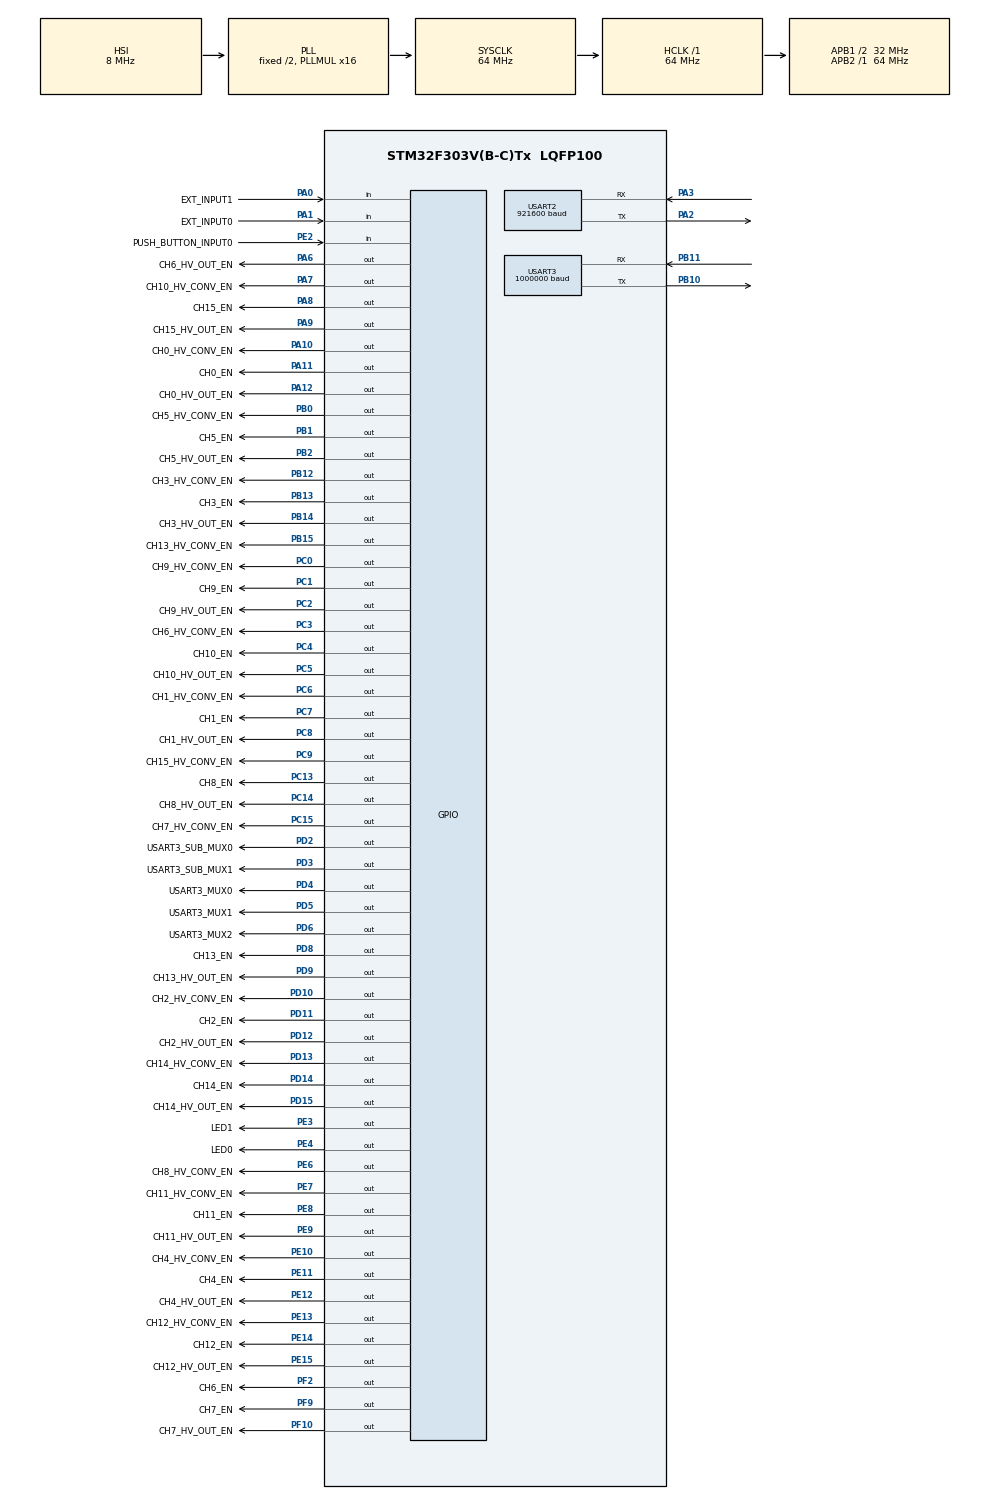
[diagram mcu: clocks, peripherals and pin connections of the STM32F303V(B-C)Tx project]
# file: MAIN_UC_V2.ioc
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Dma.Request0=USART2_RX
Dma.Request1=USART2_TX
Dma.Request2=USART3_RX
Dma.Request3=USART3_TX
Dma.USART2_RX.0.Direction=DMA_PERIPH_TO_MEMORY
Dma.USART2_RX.0.Instance=DMA1_Channel6
Dma.USART2_RX.0.MemDataAlignment=DMA_MDATAALIGN_BYTE
Dma.USART2_RX.0.MemInc=DMA_MINC_ENABLE
Dma.USART2_RX.0.Mode=DMA_CIRCULAR
Dma.USART2_RX.0.PeriphDataAlignment=DMA_PDATAALIGN_BYTE
Dma.USART2_RX.0.PeriphInc=DMA_PINC_DISABLE
Dma.USART2_RX.0.Priority=DMA_PRIORITY_LOW
Dma.USART2_TX.1.Direction=DMA_MEMORY_TO_PERIPH
Dma.USART2_TX.1.Instance=DMA1_Channel7
Dma.USART2_TX.1.MemDataAlignment=DMA_MDATAALIGN_BYTE
Dma.USART2_TX.1.MemInc=DMA_MINC_ENABLE
Dma.USART2_TX.1.Mode=DMA_NORMAL
Dma.USART2_TX.1.PeriphDataAlignment=DMA_PDATAALIGN_BYTE
Dma.USART2_TX.1.PeriphInc=DMA_PINC_DISABLE
Dma.USART2_TX.1.Priority=DMA_PRIORITY_LOW
Dma.USART3_RX.2.Direction=DMA_PERIPH_TO_MEMORY
Dma.USART3_RX.2.Instance=DMA1_Channel3
Dma.USART3_RX.2.MemDataAlignment=DMA_MDATAALIGN_BYTE
Dma.USART3_RX.2.MemInc=DMA_MINC_ENABLE
Dma.USART3_RX.2.Mode=DMA_CIRCULAR
Dma.USART3_RX.2.PeriphDataAlignment=DMA_PDATAALIGN_BYTE
Dma.USART3_RX.2.PeriphInc=DMA_PINC_DISABLE
Dma.USART3_RX.2.Priority=DMA_PRIORITY_LOW
Dma.USART3_TX.3.Direction=DMA_MEMORY_TO_PERIPH
Dma.USART3_TX.3.Instance=DMA1_Channel2
Dma.USART3_TX.3.MemDataAlignment=DMA_MDATAALIGN_BYTE
Dma.USART3_TX.3.MemInc=DMA_MINC_ENABLE
Dma.USART3_TX.3.Mode=DMA_NORMAL
Dma.USART3_TX.3.PeriphDataAlignment=DMA_PDATAALIGN_BYTE
Dma.USART3_TX.3.PeriphInc=DMA_PINC_DISABLE
Dma.USART3_TX.3.Priority=DMA_PRIORITY_LOW
Mcu.Family=STM32F3
Mcu.Name=STM32F303V(B-C)Tx
Mcu.Package=LQFP100
NVIC.DMA1_Channel2_IRQn=true\:0\:0\:false\:false\:true\:true\:true\:true
NVIC.DMA1_Channel3_IRQn=true\:0\:0\:false\:false\:true\:true\:true\:true
NVIC.DMA1_Channel6_IRQn=true\:0\:0\:false\:false\:true\:true\:true\:true
NVIC.DMA1_Channel7_IRQn=true\:0\:0\:false\:false\:true\:true\:true\:true
NVIC.PriorityGroup=NVIC_PRIORITYGROUP_4
NVIC.TIM6_DAC_IRQn=true\:0\:0\:false\:false\:true\:true\:true\:true
NVIC.USART2_IRQn=true\:0\:0\:false\:false\:true\:true\:true\:true
NVIC.USART3_IRQn=true\:0\:0\:false\:false\:true\:true\:true\:true
PA0.GPIO_Label=EXT_INPUT1
PA0.Signal=GPIO_Input
PA1.GPIO_Label=EXT_INPUT0
PA1.Signal=GPIO_Input
PA10.GPIO_Label=CH0_HV_CONV_EN
PA10.GPIO_PuPd=GPIO_PULLDOWN
PA10.Signal=GPIO_Output
PA11.GPIO_Label=CH0_EN
PA11.GPIO_PuPd=GPIO_PULLDOWN
PA11.Signal=GPIO_Output
PA12.GPIO_Label=CH0_HV_OUT_EN
PA12.GPIO_PuPd=GPIO_PULLDOWN
PA12.Signal=GPIO_Output
PA13.Mode=Serial_Wire
PA13.Signal=SYS_JTMS-SWDIO
PA14.Mode=Serial_Wire
PA14.Signal=SYS_JTCK-SWCLK
PA2.Mode=Asynchronous
PA2.Signal=USART2_TX
PA3.Mode=Asynchronous
PA3.Signal=USART2_RX
PA6.GPIO_Label=CH6_HV_OUT_EN
PA6.GPIO_PuPd=GPIO_PULLDOWN
PA6.Signal=GPIO_Output
PA7.GPIO_Label=CH10_HV_CONV_EN
PA7.GPIO_PuPd=GPIO_PULLDOWN
PA7.Signal=GPIO_Output
PA8.GPIO_Label=CH15_EN
PA8.GPIO_PuPd=GPIO_PULLDOWN
PA8.Signal=GPIO_Output
PA9.GPIO_Label=CH15_HV_OUT_EN
PA9.GPIO_PuPd=GPIO_PULLDOWN
PA9.Signal=GPIO_Output
PB0.GPIO_Label=CH5_HV_CONV_EN
PB0.GPIO_PuPd=GPIO_PULLDOWN
PB0.Signal=GPIO_Output
PB1.GPIO_Label=CH5_EN
PB1.GPIO_PuPd=GPIO_PULLDOWN
PB1.Signal=GPIO_Output
PB10.Mode=Asynchronous
PB10.Signal=USART3_TX
PB11.Mode=Asynchronous
PB11.Signal=USART3_RX
PB12.GPIO_Label=CH3_HV_CONV_EN
PB12.GPIO_PuPd=GPIO_PULLDOWN
PB12.Signal=GPIO_Output
PB13.GPIO_Label=CH3_EN
PB13.GPIO_PuPd=GPIO_PULLDOWN
PB13.Signal=GPIO_Output
PB14.GPIO_Label=CH3_HV_OUT_EN
PB14.GPIO_PuPd=GPIO_PULLDOWN
PB14.Signal=GPIO_Output
PB15.GPIO_Label=CH13_HV_CONV_EN
PB15.GPIO_PuPd=GPIO_PULLDOWN
PB15.Signal=GPIO_Output
PB2.GPIO_Label=CH5_HV_OUT_EN
PB2.GPIO_PuPd=GPIO_PULLDOWN
PB2.Signal=GPIO_Output
PC0.GPIO_Label=CH9_HV_CONV_EN
PC0.GPIO_PuPd=GPIO_PULLDOWN
PC0.Signal=GPIO_Output
PC1.GPIO_Label=CH9_EN
PC1.GPIO_PuPd=GPIO_PULLDOWN
PC1.Signal=GPIO_Output
PC13.GPIO_Label=CH8_EN
PC13.GPIO_PuPd=GPIO_PULLDOWN
PC13.Signal=GPIO_Output
PC14-OSC32_IN.GPIO_Label=CH8_HV_OUT_EN
PC14-OSC32_IN.GPIO_PuPd=GPIO_PULLDOWN
PC14-OSC32_IN.Signal=GPIO_Output
PC15-OSC32_OUT.GPIO_Label=CH7_HV_CONV_EN
PC15-OSC32_OUT.GPIO_PuPd=GPIO_PULLDOWN
PC15-OSC32_OUT.Signal=GPIO_Output
PC2.GPIO_Label=CH9_HV_OUT_EN
PC2.GPIO_PuPd=GPIO_PULLDOWN
PC2.Signal=GPIO_Output
PC3.GPIO_Label=CH6_HV_CONV_EN
PC3.GPIO_PuPd=GPIO_PULLDOWN
PC3.Signal=GPIO_Output
PC4.GPIO_Label=CH10_EN
PC4.GPIO_PuPd=GPIO_PULLDOWN
PC4.Signal=GPIO_Output
PC5.GPIO_Label=CH10_HV_OUT_EN
PC5.GPIO_PuPd=GPIO_PULLDOWN
PC5.Signal=GPIO_Output
PC6.GPIO_Label=CH1_HV_CONV_EN
PC6.GPIO_PuPd=GPIO_PULLDOWN
PC6.Signal=GPIO_Output
PC7.GPIO_Label=CH1_EN
PC7.GPIO_PuPd=GPIO_PULLDOWN
PC7.Signal=GPIO_Output
PC8.GPIO_Label=CH1_HV_OUT_EN
PC8.GPIO_PuPd=GPIO_PULLDOWN
PC8.Signal=GPIO_Output
PC9.GPIO_Label=CH15_HV_CONV_EN
PC9.GPIO_PuPd=GPIO_PULLDOWN
PC9.Signal=GPIO_Output
PD10.GPIO_Label=CH2_HV_CONV_EN
PD10.GPIO_PuPd=GPIO_PULLDOWN
PD10.Signal=GPIO_Output
PD11.GPIO_Label=CH2_EN
PD11.GPIO_PuPd=GPIO_PULLDOWN
PD11.Signal=GPIO_Output
PD12.GPIO_Label=CH2_HV_OUT_EN
PD12.GPIO_PuPd=GPIO_PULLDOWN
PD12.Signal=GPIO_Output
PD13.GPIO_Label=CH14_HV_CONV_EN
PD13.GPIO_PuPd=GPIO_PULLDOWN
PD13.Signal=GPIO_Output
PD14.GPIO_Label=CH14_EN
PD14.GPIO_PuPd=GPIO_PULLDOWN
PD14.Signal=GPIO_Output
PD15.GPIO_Label=CH14_HV_OUT_EN
PD15.GPIO_PuPd=GPIO_PULLDOWN
PD15.Signal=GPIO_Output
PD2.GPIO_Label=USART3_SUB_MUX0
PD2.Signal=GPIO_Output
PD3.GPIO_Label=USART3_SUB_MUX1
PD3.Signal=GPIO_Output
PD4.GPIO_Label=USART3_MUX0
PD4.Signal=GPIO_Output
PD5.GPIO_Label=USART3_MUX1
PD5.Signal=GPIO_Output
PD6.GPIO_Label=USART3_MUX2
PD6.Signal=GPIO_Output
PD8.GPIO_Label=CH13_EN
PD8.GPIO_PuPd=GPIO_PULLDOWN
PD8.Signal=GPIO_Output
PD9.GPIO_Label=CH13_HV_OUT_EN
PD9.GPIO_PuPd=GPIO_PULLDOWN
PD9.Signal=GPIO_Output
PE10.GPIO_Label=CH4_HV_CONV_EN
PE10.GPIO_PuPd=GPIO_PULLDOWN
PE10.Signal=GPIO_Output
PE11.GPIO_Label=CH4_EN
PE11.GPIO_PuPd=GPIO_PULLDOWN
PE11.Signal=GPIO_Output
PE12.GPIO_Label=CH4_HV_OUT_EN
PE12.GPIO_PuPd=GPIO_PULLDOWN
PE12.Signal=GPIO_Output
PE13.GPIO_Label=CH12_HV_CONV_EN
PE13.GPIO_PuPd=GPIO_PULLDOWN
PE13.Signal=GPIO_Output
PE14.GPIO_Label=CH12_EN
PE14.GPIO_PuPd=GPIO_PULLDOWN
PE14.Signal=GPIO_Output
PE15.GPIO_Label=CH12_HV_OUT_EN
PE15.GPIO_PuPd=GPIO_PULLDOWN
PE15.Signal=GPIO_Output
PE2.GPIO_Label=PUSH_BUTTON_INPUT0
PE2.GPIO_PuPd=GPIO_PULLUP
PE2.Signal=GPIO_Input
PE3.GPIO_Label=LED1
PE3.Signal=GPIO_Output
PE4.GPIO_Label=LED0
PE4.Signal=GPIO_Output
PE6.GPIO_Label=CH8_HV_CONV_EN
PE6.GPIO_PuPd=GPIO_PULLDOWN
PE6.Signal=GPIO_Output
PE7.GPIO_Label=CH11_HV_CONV_EN
PE7.GPIO_PuPd=GPIO_PULLDOWN
PE7.Signal=GPIO_Output
PE8.GPIO_Label=CH11_EN
PE8.GPIO_PuPd=GPIO_PULLDOWN
PE8.Signal=GPIO_Output
PE9.GPIO_Label=CH11_HV_OUT_EN
PE9.GPIO_PuPd=GPIO_PULLDOWN
PE9.Signal=GPIO_Output
PF10.GPIO_Label=CH7_HV_OUT_EN
PF10.GPIO_PuPd=GPIO_PULLDOWN
PF10.Signal=GPIO_Output
PF2.GPIO_Label=CH6_EN
PF2.GPIO_PuPd=GPIO_PULLDOWN
PF2.Signal=GPIO_Output
PF9.GPIO_Label=CH7_EN
PF9.GPIO_PuPd=GPIO_PULLDOWN
PF9.Signal=GPIO_Output
ProjectManager.HeapSize=0x200
ProjectManager.StackSize=0x400
ProjectManager.TargetToolchain=MDK-ARM V5
RCC.AHBFreq_Value=64000000
RCC.APB1CLKDivider=RCC_HCLK_DIV2
RCC.APB1Freq_Value=32000000
RCC.APB1TimFreq_Value=64000000
RCC.APB2Freq_Value=64000000
RCC.APB2TimFreq_Value=64000000
RCC.CortexFreq_Value=64000000
RCC.HCLKFreq_Value=64000000
RCC.HSE_VALUE=8000000
RCC.HSI_VALUE=8000000
RCC.LSE_VALUE=32768
RCC.PLLMUL=RCC_PLL_MUL16
RCC.SYSCLKFreq_VALUE=64000000
RCC.SYSCLKSourceVirtual=RCC_SYSCLKSOURCE_PLLCLK
RCC.USBFreq_Value=64000000
TIM6.Period=9999
TIM6.Prescaler=72
USART2.BaudRate=921600
USART2.VirtualMode-Asynchronous=VM_ASYNC
USART3.BaudRate=1000000
USART3.VirtualMode-Asynchronous=VM_ASYNC
VP_TIM6_VS_ClockSourceINT.Mode=Enable_Timer
board=MAIN_UC_V2

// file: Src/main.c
/**
  ******************************************************************************
  * File Name          : main.c
  * Description        : Main program body
  ******************************************************************************
  *
  * COPYRIGHT(c) 2024 STMicroelectronics
  *
  * Redistribution and use in source and binary forms, with or without modification,
  * are permitted provided that the following conditions are met:
  *   1. Redistributions of source code must retain the above copyright notice,
  *      this list of conditions and the following disclaimer.
  *   2. Redistributions in binary form must reproduce the above copyright notice,
  *      this list of conditions and the following disclaimer in the documentation
  *      and/or other materials provided with the distribution.
  *   3. Neither the name of STMicroelectronics nor the names of its contributors
  *      may be used to endorse or promote products derived from this software
  *      without specific prior written permission.
  *
  * THIS SOFTWARE IS PROVIDED BY THE COPYRIGHT HOLDERS AND CONTRIBUTORS "AS IS"
  * AND ANY EXPRESS OR IMPLIED WARRANTIES, INCLUDING, BUT NOT LIMITED TO, THE
  * IMPLIED WARRANTIES OF MERCHANTABILITY AND FITNESS FOR A PARTICULAR PURPOSE ARE
  * DISCLAIMED. IN NO EVENT SHALL THE COPYRIGHT HOLDER OR CONTRIBUTORS BE LIABLE
  * FOR ANY DIRECT, INDIRECT, INCIDENTAL, SPECIAL, EXEMPLARY, OR CONSEQUENTIAL
  * DAMAGES (INCLUDING, BUT NOT LIMITED TO, PROCUREMENT OF SUBSTITUTE GOODS OR
  * SERVICES; LOSS OF USE, DATA, OR PROFITS; OR BUSINESS INTERRUPTION) HOWEVER
  * CAUSED AND ON ANY THEORY OF LIABILITY, WHETHER IN CONTRACT, STRICT LIABILITY,
  * OR TORT (INCLUDING NEGLIGENCE OR OTHERWISE) ARISING IN ANY WAY OUT OF THE USE
  * OF THIS SOFTWARE, EVEN IF ADVISED OF THE POSSIBILITY OF SUCH DAMAGE.
  *
  ******************************************************************************
  */
#include "main.h"
#include "stm32f3xx_hal.h"

/* USER CODE BEGIN Includes */
#include "CHANNEL_COM_function.h"
#include "MASTER_COM_function.h"
#include "MISC_function.h"

/* USER CODE END Includes */

TIM_HandleTypeDef htim6;

UART_HandleTypeDef huart2;
UART_HandleTypeDef huart3;
DMA_HandleTypeDef hdma_usart2_rx;
DMA_HandleTypeDef hdma_usart2_tx;
DMA_HandleTypeDef hdma_usart3_rx;
DMA_HandleTypeDef hdma_usart3_tx;

/* USER CODE BEGIN PV */
/* Private variables ---------------------------------------------------------*/
volatile uint32_t		MainStatus	= 0x00000000;

volatile float 			DebugVar0 	= 0.0;
volatile float 			DebugVar1 	= 0.0;
volatile uint32_t		DebugVar2 	= 0;
volatile uint8_t 		DebugVar4 	= 0;
/* USER CODE END PV */

void SystemClock_Config(void);
void Error_Handler(void);
static void MX_GPIO_Init(void);
static void MX_DMA_Init(void);
static void MX_TIM6_Init(void);
static void MX_USART2_UART_Init(void);
static void MX_USART3_UART_Init(void);

/* USER CODE BEGIN PFP */
/* Private function prototypes -----------------------------------------------*/
void MiscInit(void);
/* USER CODE END PFP */

int main(void)
{

  /* MCU Configuration----------------------------------------------------------*/

  /* Reset of all peripherals, Initializes the Flash interface and the Systick. */
  HAL_Init();

  /* Configure the system clock */
  SystemClock_Config();

  /* Initialize all configured peripherals */
  MX_GPIO_Init();
  MX_DMA_Init();
  MX_TIM6_Init();
  MX_USART2_UART_Init();
  MX_USART3_UART_Init();

  /* USER CODE BEGIN 2 */
	MiscInit();
	CHANNEL_Initial_Test_All();
	//CHANNEL_cmd(1, ENABLE, DISABLE, DISABLE);

  /* USER CODE END 2 */

  /* Infinite loop */
  while (1)
  {

  /* USER CODE BEGIN 3 */
//		Delay_ms_dummy(500);
//		LED0_GPIO_Port->ODR	^= LED0_Pin;
		CHANNEL_UART_rx_handler();
		MASTER_UART_rx_handler();
//		if(PUSH_BUTTON_INPUT_GPIO_Port->IDR & PUSH_BUTTON_INPUT_Pin){
//			CHANNEL_cmd(0, ENABLE, DISABLE, DISABLE);
//			LED0_GPIO_Port->ODR	|= LED0_Pin;
//		}else{
//			CHANNEL_cmd(0, ENABLE, ENABLE, DISABLE);
//			LED0_GPIO_Port->ODR	&=~LED0_Pin;
////			CHANNEL_get_status(0);
////			if(DebugVar4){
////				CHANNEL_cmd(0, DISABLE, DISABLE, DISABLE);
////				LED0_GPIO_Port->ODR	&=~LED0_Pin;
////				DebugVar4=0;
////			}else{
////				LED0_GPIO_Port->ODR	|= LED0_Pin;
////				CHANNEL_cmd(0, ENABLE, DISABLE, DISABLE);

////				DebugVar4=1;
////			}
//			Delay_ms_dummy(300);
////			CHANNEL_Set_All_Param(0, 200, 50, 1000, 10000, 2, 20);
//		}
//		CHANNEL_get_status(0);
  }
  /* USER CODE END 3 */

}

/** System Clock Configuration
*/
void SystemClock_Config(void)
{

  RCC_OscInitTypeDef RCC_OscInitStruct;
  RCC_ClkInitTypeDef RCC_ClkInitStruct;
  RCC_PeriphCLKInitTypeDef PeriphClkInit;

    /**Initializes the CPU, AHB and APB busses clocks
    */
  RCC_OscInitStruct.OscillatorType = RCC_OSCILLATORTYPE_HSI;
  RCC_OscInitStruct.HSIState = RCC_HSI_ON;
  RCC_OscInitStruct.HSICalibrationValue = 16;
  RCC_OscInitStruct.PLL.PLLState = RCC_PLL_ON;
  RCC_OscInitStruct.PLL.PLLSource = RCC_PLLSOURCE_HSI;
  RCC_OscInitStruct.PLL.PLLMUL = RCC_PLL_MUL16;
  if (HAL_RCC_OscConfig(&RCC_OscInitStruct) != HAL_OK)
  {
    Error_Handler();
  }

    /**Initializes the CPU, AHB and APB busses clocks
    */
  RCC_ClkInitStruct.ClockType = RCC_CLOCKTYPE_HCLK|RCC_CLOCKTYPE_SYSCLK
                              |RCC_CLOCKTYPE_PCLK1|RCC_CLOCKTYPE_PCLK2;
  RCC_ClkInitStruct.SYSCLKSource = RCC_SYSCLKSOURCE_PLLCLK;
  RCC_ClkInitStruct.AHBCLKDivider = RCC_SYSCLK_DIV1;
  RCC_ClkInitStruct.APB1CLKDivider = RCC_HCLK_DIV2;
  RCC_ClkInitStruct.APB2CLKDivider = RCC_HCLK_DIV1;

  if (HAL_RCC_ClockConfig(&RCC_ClkInitStruct, FLASH_LATENCY_2) != HAL_OK)
  {
    Error_Handler();
  }

  PeriphClkInit.PeriphClockSelection = RCC_PERIPHCLK_USART2|RCC_PERIPHCLK_USART3;
  PeriphClkInit.Usart2ClockSelection = RCC_USART2CLKSOURCE_PCLK1;
  PeriphClkInit.Usart3ClockSelection = RCC_USART3CLKSOURCE_PCLK1;
  if (HAL_RCCEx_PeriphCLKConfig(&PeriphClkInit) != HAL_OK)
  {
    Error_Handler();
  }

    /**Configure the Systick interrupt time
    */
  HAL_SYSTICK_Config(HAL_RCC_GetHCLKFreq()/1000);

    /**Configure the Systick
    */
  HAL_SYSTICK_CLKSourceConfig(SYSTICK_CLKSOURCE_HCLK);

  /* SysTick_IRQn interrupt configuration */
  HAL_NVIC_SetPriority(SysTick_IRQn, 0, 0);
}

/* TIM6 init function */
static void MX_TIM6_Init(void)
{

  TIM_MasterConfigTypeDef sMasterConfig;

  htim6.Instance = TIM6;
  htim6.Init.Prescaler = 72;
  htim6.Init.CounterMode = TIM_COUNTERMODE_UP;
  htim6.Init.Period = 9999;
  if (HAL_TIM_Base_Init(&htim6) != HAL_OK)
  {
    Error_Handler();
  }

  sMasterConfig.MasterOutputTrigger = TIM_TRGO_RESET;
  sMasterConfig.MasterSlaveMode = TIM_MASTERSLAVEMODE_DISABLE;
  if (HAL_TIMEx_MasterConfigSynchronization(&htim6, &sMasterConfig) != HAL_OK)
  {
    Error_Handler();
  }

}

/* USART2 init function */
static void MX_USART2_UART_Init(void)
{

  huart2.Instance = USART2;
  huart2.Init.BaudRate = 921600;
  huart2.Init.WordLength = UART_WORDLENGTH_8B;
  huart2.Init.StopBits = UART_STOPBITS_1;
  huart2.Init.Parity = UART_PARITY_NONE;
  huart2.Init.Mode = UART_MODE_TX_RX;
  huart2.Init.HwFlowCtl = UART_HWCONTROL_NONE;
  huart2.Init.OverSampling = UART_OVERSAMPLING_16;
  huart2.Init.OneBitSampling = UART_ONE_BIT_SAMPLE_DISABLE;
  huart2.AdvancedInit.AdvFeatureInit = UART_ADVFEATURE_NO_INIT;
  if (HAL_UART_Init(&huart2) != HAL_OK)
  {
    Error_Handler();
  }

}

/* USART3 init function */
static void MX_USART3_UART_Init(void)
{

  huart3.Instance = USART3;
  huart3.Init.BaudRate = 1000000;
  huart3.Init.WordLength = UART_WORDLENGTH_8B;
  huart3.Init.StopBits = UART_STOPBITS_1;
  huart3.Init.Parity = UART_PARITY_NONE;
  huart3.Init.Mode = UART_MODE_TX_RX;
  huart3.Init.HwFlowCtl = UART_HWCONTROL_NONE;
  huart3.Init.OverSampling = UART_OVERSAMPLING_16;
  huart3.Init.OneBitSampling = UART_ONE_BIT_SAMPLE_DISABLE;
  huart3.AdvancedInit.AdvFeatureInit = UART_ADVFEATURE_NO_INIT;
  if (HAL_UART_Init(&huart3) != HAL_OK)
  {
    Error_Handler();
  }

}

static void MX_DMA_Init(void)
{
  /* DMA controller clock enable */
  __HAL_RCC_DMA1_CLK_ENABLE();

  /* DMA interrupt init */
  /* DMA1_Channel2_IRQn interrupt configuration */
  HAL_NVIC_SetPriority(DMA1_Channel2_IRQn, 0, 0);
  HAL_NVIC_EnableIRQ(DMA1_Channel2_IRQn);
  /* DMA1_Channel3_IRQn interrupt configuration */
  HAL_NVIC_SetPriority(DMA1_Channel3_IRQn, 0, 0);
  HAL_NVIC_EnableIRQ(DMA1_Channel3_IRQn);
  /* DMA1_Channel6_IRQn interrupt configuration */
  HAL_NVIC_SetPriority(DMA1_Channel6_IRQn, 0, 0);
  HAL_NVIC_EnableIRQ(DMA1_Channel6_IRQn);
  /* DMA1_Channel7_IRQn interrupt configuration */
  HAL_NVIC_SetPriority(DMA1_Channel7_IRQn, 0, 0);
  HAL_NVIC_EnableIRQ(DMA1_Channel7_IRQn);

}

/** Configure pins as
        * Analog
        * Input
        * Output
        * EVENT_OUT
        * EXTI
*/
static void MX_GPIO_Init(void)
{

  GPIO_InitTypeDef GPIO_InitStruct;

  /* GPIO Ports Clock Enable */
  __HAL_RCC_GPIOE_CLK_ENABLE();
  __HAL_RCC_GPIOC_CLK_ENABLE();
  __HAL_RCC_GPIOF_CLK_ENABLE();
  __HAL_RCC_GPIOA_CLK_ENABLE();
  __HAL_RCC_GPIOB_CLK_ENABLE();
  __HAL_RCC_GPIOD_CLK_ENABLE();

  /*Configure GPIO pin Output Level */
  HAL_GPIO_WritePin(GPIOE, LED1_Pin|LED0_Pin|CH8_HV_CONV_EN_Pin|CH11_HV_CONV_EN_Pin
                          |CH11_EN_Pin|CH11_HV_OUT_EN_Pin|CH4_HV_CONV_EN_Pin|CH4_EN_Pin
                          |CH4_HV_OUT_EN_Pin|CH12_HV_CONV_EN_Pin|CH12_EN_Pin|CH12_HV_OUT_EN_Pin, GPIO_PIN_RESET);

  /*Configure GPIO pin Output Level */
  HAL_GPIO_WritePin(GPIOC, CH8_EN_Pin|CH8_HV_OUT_EN_Pin|CH7_HV_CONV_EN_Pin|CH9_HV_CONV_EN_Pin
                          |CH9_EN_Pin|CH9_HV_OUT_EN_Pin|CH6_HV_CONV_EN_Pin|CH10_EN_Pin
                          |CH10_HV_OUT_EN_Pin|CH1_HV_CONV_EN_Pin|CH1_EN_Pin|CH1_HV_OUT_EN_Pin
                          |CH15_HV_CONV_EN_Pin, GPIO_PIN_RESET);

  /*Configure GPIO pin Output Level */
  HAL_GPIO_WritePin(GPIOF, CH7_EN_Pin|CH7_HV_OUT_EN_Pin|CH6_EN_Pin, GPIO_PIN_RESET);

  /*Configure GPIO pin Output Level */
  HAL_GPIO_WritePin(GPIOA, CH6_HV_OUT_EN_Pin|CH10_HV_CONV_EN_Pin|CH15_EN_Pin|CH15_HV_OUT_EN_Pin
                          |CH0_HV_CONV_EN_Pin|CH0_EN_Pin|CH0_HV_OUT_EN_Pin, GPIO_PIN_RESET);

  /*Configure GPIO pin Output Level */
  HAL_GPIO_WritePin(GPIOB, CH5_HV_CONV_EN_Pin|CH5_EN_Pin|CH5_HV_OUT_EN_Pin|CH3_HV_CONV_EN_Pin
                          |CH3_EN_Pin|CH3_HV_OUT_EN_Pin|CH13_HV_CONV_EN_Pin, GPIO_PIN_RESET);

  /*Configure GPIO pin Output Level */
  HAL_GPIO_WritePin(GPIOD, CH13_EN_Pin|CH13_HV_OUT_EN_Pin|CH2_HV_CONV_EN_Pin|CH2_EN_Pin
                          |CH2_HV_OUT_EN_Pin|CH14_HV_CONV_EN_Pin|CH14_EN_Pin|CH14_HV_OUT_EN_Pin
                          |USART3_SUB_MUX0_Pin|USART3_SUB_MUX1_Pin|USART3_MUX0_Pin|USART3_MUX1_Pin
                          |USART3_MUX2_Pin, GPIO_PIN_RESET);

  /*Configure GPIO pin : PUSH_BUTTON_INPUT0_Pin */
  GPIO_InitStruct.Pin = PUSH_BUTTON_INPUT0_Pin;
  GPIO_InitStruct.Mode = GPIO_MODE_INPUT;
  GPIO_InitStruct.Pull = GPIO_PULLUP;
  HAL_GPIO_Init(PUSH_BUTTON_INPUT0_GPIO_Port, &GPIO_InitStruct);

  /*Configure GPIO pins : LED1_Pin LED0_Pin */
  GPIO_InitStruct.Pin = LED1_Pin|LED0_Pin;
  GPIO_InitStruct.Mode = GPIO_MODE_OUTPUT_PP;
  GPIO_InitStruct.Pull = GPIO_NOPULL;
  GPIO_InitStruct.Speed = GPIO_SPEED_FREQ_LOW;
  HAL_GPIO_Init(GPIOE, &GPIO_InitStruct);

  /*Configure GPIO pins : CH8_HV_CONV_EN_Pin CH11_HV_CONV_EN_Pin CH11_EN_Pin CH11_HV_OUT_EN_Pin
                           CH4_HV_CONV_EN_Pin CH4_EN_Pin CH4_HV_OUT_EN_Pin CH12_HV_CONV_EN_Pin
                           CH12_EN_Pin CH12_HV_OUT_EN_Pin */
  GPIO_InitStruct.Pin = CH8_HV_CONV_EN_Pin|CH11_HV_CONV_EN_Pin|CH11_EN_Pin|CH11_HV_OUT_EN_Pin
                          |CH4_HV_CONV_EN_Pin|CH4_EN_Pin|CH4_HV_OUT_EN_Pin|CH12_HV_CONV_EN_Pin
                          |CH12_EN_Pin|CH12_HV_OUT_EN_Pin;
  GPIO_InitStruct.Mode = GPIO_MODE_OUTPUT_PP;
  GPIO_InitStruct.Pull = GPIO_PULLDOWN;
  GPIO_InitStruct.Speed = GPIO_SPEED_FREQ_LOW;
  HAL_GPIO_Init(GPIOE, &GPIO_InitStruct);

  /*Configure GPIO pins : CH8_EN_Pin CH8_HV_OUT_EN_Pin CH7_HV_CONV_EN_Pin CH9_HV_CONV_EN_Pin
                           CH9_EN_Pin CH9_HV_OUT_EN_Pin CH6_HV_CONV_EN_Pin CH10_EN_Pin
                           CH10_HV_OUT_EN_Pin CH1_HV_CONV_EN_Pin CH1_EN_Pin CH1_HV_OUT_EN_Pin
                           CH15_HV_CONV_EN_Pin */
  GPIO_InitStruct.Pin = CH8_EN_Pin|CH8_HV_OUT_EN_Pin|CH7_HV_CONV_EN_Pin|CH9_HV_CONV_EN_Pin
                          |CH9_EN_Pin|CH9_HV_OUT_EN_Pin|CH6_HV_CONV_EN_Pin|CH10_EN_Pin
                          |CH10_HV_OUT_EN_Pin|CH1_HV_CONV_EN_Pin|CH1_EN_Pin|CH1_HV_OUT_EN_Pin
                          |CH15_HV_CONV_EN_Pin;
  GPIO_InitStruct.Mode = GPIO_MODE_OUTPUT_PP;
  GPIO_InitStruct.Pull = GPIO_PULLDOWN;
  GPIO_InitStruct.Speed = GPIO_SPEED_FREQ_LOW;
  HAL_GPIO_Init(GPIOC, &GPIO_InitStruct);

  /*Configure GPIO pins : CH7_EN_Pin CH7_HV_OUT_EN_Pin CH6_EN_Pin */
  GPIO_InitStruct.Pin = CH7_EN_Pin|CH7_HV_OUT_EN_Pin|CH6_EN_Pin;
  GPIO_InitStruct.Mode = GPIO_MODE_OUTPUT_PP;
  GPIO_InitStruct.Pull = GPIO_PULLDOWN;
  GPIO_InitStruct.Speed = GPIO_SPEED_FREQ_LOW;
  HAL_GPIO_Init(GPIOF, &GPIO_InitStruct);

  /*Configure GPIO pins : EXT_INPUT1_Pin EXT_INPUT0_Pin */
  GPIO_InitStruct.Pin = EXT_INPUT1_Pin|EXT_INPUT0_Pin;
  GPIO_InitStruct.Mode = GPIO_MODE_INPUT;
  GPIO_InitStruct.Pull = GPIO_NOPULL;
  HAL_GPIO_Init(GPIOA, &GPIO_InitStruct);

  /*Configure GPIO pins : CH6_HV_OUT_EN_Pin CH10_HV_CONV_EN_Pin CH15_EN_Pin CH15_HV_OUT_EN_Pin
                           CH0_HV_CONV_EN_Pin CH0_EN_Pin CH0_HV_OUT_EN_Pin */
  GPIO_InitStruct.Pin = CH6_HV_OUT_EN_Pin|CH10_HV_CONV_EN_Pin|CH15_EN_Pin|CH15_HV_OUT_EN_Pin
                          |CH0_HV_CONV_EN_Pin|CH0_EN_Pin|CH0_HV_OUT_EN_Pin;
  GPIO_InitStruct.Mode = GPIO_MODE_OUTPUT_PP;
  GPIO_InitStruct.Pull = GPIO_PULLDOWN;
  GPIO_InitStruct.Speed = GPIO_SPEED_FREQ_LOW;
  HAL_GPIO_Init(GPIOA, &GPIO_InitStruct);

  /*Configure GPIO pins : CH5_HV_CONV_EN_Pin CH5_EN_Pin CH5_HV_OUT_EN_Pin CH3_HV_CONV_EN_Pin
                           CH3_EN_Pin CH3_HV_OUT_EN_Pin CH13_HV_CONV_EN_Pin */
  GPIO_InitStruct.Pin = CH5_HV_CONV_EN_Pin|CH5_EN_Pin|CH5_HV_OUT_EN_Pin|CH3_HV_CONV_EN_Pin
                          |CH3_EN_Pin|CH3_HV_OUT_EN_Pin|CH13_HV_CONV_EN_Pin;
  GPIO_InitStruct.Mode = GPIO_MODE_OUTPUT_PP;
  GPIO_InitStruct.Pull = GPIO_PULLDOWN;
  GPIO_InitStruct.Speed = GPIO_SPEED_FREQ_LOW;
  HAL_GPIO_Init(GPIOB, &GPIO_InitStruct);

  /*Configure GPIO pins : CH13_EN_Pin CH13_HV_OUT_EN_Pin CH2_HV_CONV_EN_Pin CH2_EN_Pin
                           CH2_HV_OUT_EN_Pin CH14_HV_CONV_EN_Pin CH14_EN_Pin CH14_HV_OUT_EN_Pin */
  GPIO_InitStruct.Pin = CH13_EN_Pin|CH13_HV_OUT_EN_Pin|CH2_HV_CONV_EN_Pin|CH2_EN_Pin
                          |CH2_HV_OUT_EN_Pin|CH14_HV_CONV_EN_Pin|CH14_EN_Pin|CH14_HV_OUT_EN_Pin;
  GPIO_InitStruct.Mode = GPIO_MODE_OUTPUT_PP;
  GPIO_InitStruct.Pull = GPIO_PULLDOWN;
  GPIO_InitStruct.Speed = GPIO_SPEED_FREQ_LOW;
  HAL_GPIO_Init(GPIOD, &GPIO_InitStruct);

  /*Configure GPIO pins : USART3_SUB_MUX0_Pin USART3_SUB_MUX1_Pin USART3_MUX0_Pin USART3_MUX1_Pin
                           USART3_MUX2_Pin */
  GPIO_InitStruct.Pin = USART3_SUB_MUX0_Pin|USART3_SUB_MUX1_Pin|USART3_MUX0_Pin|USART3_MUX1_Pin
                          |USART3_MUX2_Pin;
  GPIO_InitStruct.Mode = GPIO_MODE_OUTPUT_PP;
  GPIO_InitStruct.Pull = GPIO_NOPULL;
  GPIO_InitStruct.Speed = GPIO_SPEED_FREQ_LOW;
  HAL_GPIO_Init(GPIOD, &GPIO_InitStruct);

}

/* USER CODE BEGIN 4 */

/**
  * @brief  Divers choses а effectuer aprиs un rst (pas mis dans le main pour йviter les conflic avec stmcubemx)
  * @param  None
  * @retval None
  */
void MiscInit(void){
//	TeCycle_us = (uint32_t)(htim6.Init.Period+1);
//	HAL_TIM_Base_Start_IT(&htim6);								// Activation des interuption de la boucle principale
	#ifdef PROTO_BOARD
		GPIO_InitTypeDef GPIO_InitStruct;
		GPIO_InitStruct.Pin 	= PUSH_BUTTON_INPUT_Pin;
		GPIO_InitStruct.Mode 	= GPIO_MODE_INPUT;
		GPIO_InitStruct.Pull 	= GPIO_NOPULL;
		HAL_GPIO_Init(PUSH_BUTTON_INPUT_GPIO_Port, &GPIO_InitStruct);
	#endif
	CHANNEL_UART_rx_init();
	MASTER_UART_rx_init();
}
//END MiscInit

/* USER CODE END 4 */

void Error_Handler(void)
{
  while(1)
  {
  }
}

/************************ (C) COPYRIGHT STMicroelectronics *****END OF FILE****/
